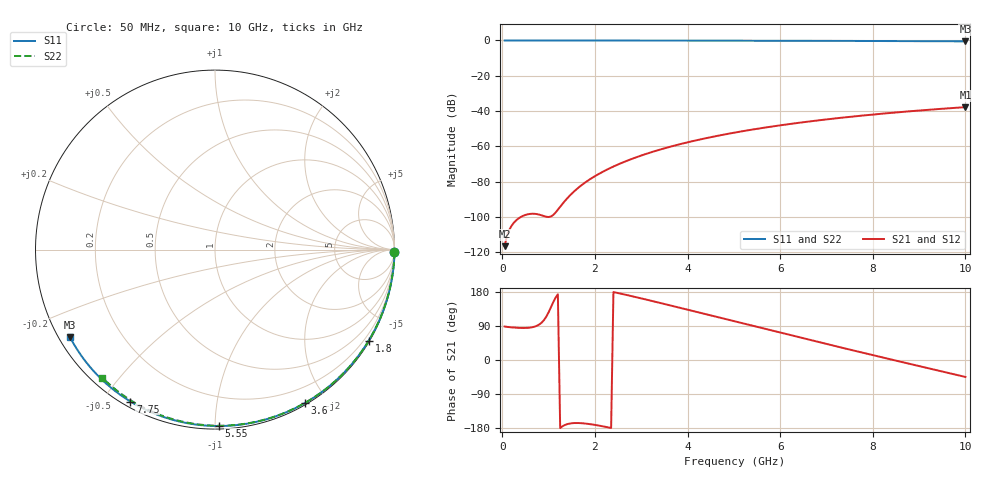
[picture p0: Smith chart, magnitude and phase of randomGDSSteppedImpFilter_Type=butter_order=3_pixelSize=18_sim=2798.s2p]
! freq	dB(S11)	phase(S11)	dB(S12)	phase(S12)
!  dB(S21)	phase(S21)	dB(S22)	phase(S22)
!S-par simulation data
#  GHz  S  DB  R 50
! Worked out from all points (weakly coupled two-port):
!   200 points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, 50 MHz to 10 GHz, reference 50 ohm
!   highest |S21| = -37.82 dB at 10 GHz (marker M1); lowest = -116.7 dB at 50 MHz (marker M2)
!   lowest |S11| = -0.5 dB at 10 GHz (marker M3), VSWR 34.55, Z = 1.56 - j13.9 ohm
!   |S11| at or under -10 dB: nowhere
!   |S22| runs from -0.4 to 0.0 dB; largest |S21 - S12| = 0
!   S11 on the Smith chart (normalised r, x): 50 MHz: open; 1.8 GHz: 0.03, -3.66; 3.6 GHz: 0.02, -1.74; 5.55 GHz: 0.02, -1.02; 7.75 GHz: 0.02, -0.59; 10 GHz: 0.03, -0.28
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0.05  -0.00 -0.9  -116.67 88.5  -116.67 88.5  -0.00 -0.8
0.45  -0.01 -7.8  -99.45 84.4  -99.45 84.4  -0.01 -6.8
0.9  -0.02 -15.5  -99.61 105.3  -99.61 105.3  -0.02 -13.6
1.3  -0.03 -22.2  -92.66 -174.9  -92.66 -174.9  -0.02 -19.6
1.75  -0.04 -29.8  -81.31 -167.2  -81.31 -167.2  -0.03 -26.2
1.8  -0.04 -30.6  -80.36 -167.8  -80.36 -167.8  -0.03 -26.9
1.85  -0.04 -31.4  -79.46 -168.5  -79.46 -168.5  -0.04 -27.7
2.05  -0.04 -34.7  -76.20 -172.3  -76.20 -172.3  -0.04 -30.6
2.2  -0.05 -37.2  -74.06 -175.7  -74.06 -175.7  -0.04 -32.8
2.5  -0.05 -42.1  -70.33 176.7  -70.33 176.7  -0.05 -37.1
2.9  -0.06 -48.6  -66.18 165.5  -66.18 165.5  -0.06 -42.8
3.4  -0.08 -56.5  -61.93 150.8  -61.93 150.8  -0.07 -49.9
3.6  -0.08 -59.6  -60.45 144.8  -60.45 144.8  -0.07 -52.7
4.3  -0.10 -70.4  -55.98 123.7  -55.98 123.7  -0.09 -62.2
5.05  -0.13 -81.5  -52.10 100.9  -52.10 100.9  -0.11 -72.2
5.55  -0.15 -88.8  -49.90 85.7  -49.90 85.7  -0.13 -78.7
6.1  -0.17 -96.6  -47.77 69.1  -47.77 69.1  -0.15 -85.6
6.7  -0.20 -104.9  -45.71 51.2  -45.71 51.2  -0.18 -93.0
7.75  -0.28 -119.1  -42.67 20.2  -42.67 20.2  -0.24 -105.6
8.35  -0.33 -127.1  -41.18 2.7  -41.18 2.7  -0.29 -112.6
9.2  -0.41 -138.3  -39.33 -21.8  -39.33 -21.8  -0.36 -122.4
10  -0.50 -148.9  -37.82 -44.7  -37.82 -44.7  -0.44 -131.4
